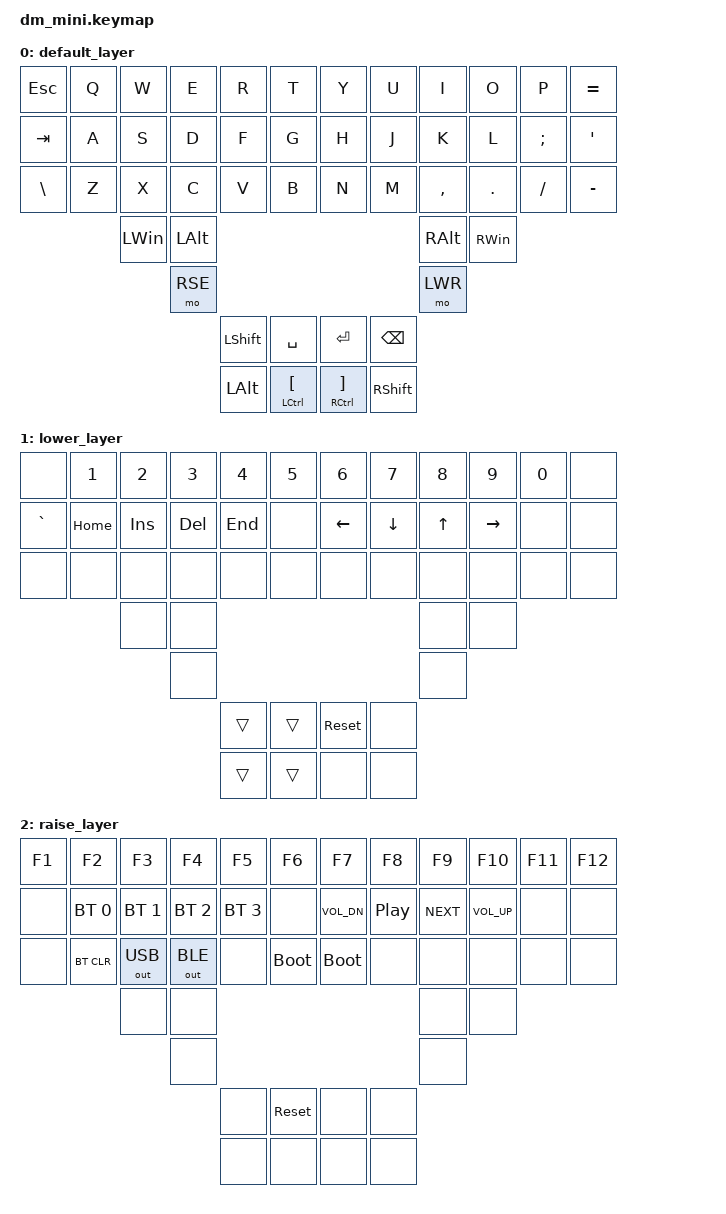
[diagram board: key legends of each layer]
#include <behaviors.dtsi>
#include <dt-bindings/zmk/keys.h>
#include <dt-bindings/zmk/bt.h>
#include <dt-bindings/zmk/outputs.h>

#define DEFAULT 0
#define LWR 1
#define RSE 2

&mt {
    tapping-term-ms = <200>;
};

/ {
    keymap {
        compatible = "zmk,keymap";

        default_layer {
            bindings = <
                &kp ESC   &kp Q  &kp W     &kp E     &kp R       &kp T               &kp Y           &kp U       &kp I      &kp O    &kp P     &kp EQUAL
                &kp TAB   &kp A  &kp S     &kp D     &kp F       &kp G               &kp H           &kp J       &kp K      &kp L    &kp SEMI  &kp SQT
                &kp BSLH  &kp Z  &kp X     &kp C     &kp V       &kp B               &kp N           &kp M       &kp COMMA  &kp DOT  &kp FSLH  &kp MINUS
                                 &kp LWIN  &kp LALT                                                              &kp RALT   &kp RWIN
                                           &mo RSE                                                               &mo LWR
                                                     &kp LSHIFT  &kp SPACE            &kp ENTER       &kp BSPC
                                                     &kp LALT    &mt LCTRL LBKT      &mt RCTRL RBKT  &kp RSHIFT
            >;
        };

        lower_layer {
            bindings = <
                &none      &kp N1   &kp N2     &kp N3  &kp N4   &kp N5                   &kp N6     &kp N7   &kp N8  &kp N9    &kp N0 &none
                &kp GRAVE  &kp HOME &kp INSERT &kp DEL &kp END  &none                    &kp LEFT   &kp DOWN &kp UP  &kp RIGHT &none  &none
                &none      &none    &none      &none   &none    &none                    &none      &none    &none   &none     &none  &none
                                    &none      &none                                                         &none   &none
                                               &none                                                         &none
                                                       &trans   &trans                   &sys_reset &none
                                                       &trans   &trans                   &none      &none
            >;
        };

        raise_layer {
            bindings = <
                &kp F1 &kp F2       &kp F3       &kp F4        &kp F5         &kp F6           &kp F7        &kp F8   &kp F9      &kp F10      &kp F11  &kp F12
                &none  &bt BT_SEL 0 &bt BT_SEL 1 &bt BT_SEL 2  &bt BT_SEL 3   &none            &kp C_VOL_DN  &kp C_PP &kp C_NEXT  &kp C_VOL_UP &none    &none
                &none  &bt BT_CLR   &out OUT_USB &out OUT_BLE  &none          &bootloader      &bootloader   &none    &none       &none        &none    &none
                                    &none        &none                                                                &none    &none
                                                 &none                                                                &none
                                                               &none          &sys_reset       &none         &none
                                                               &none          &none            &none         &none
            >;
        };
    };
};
